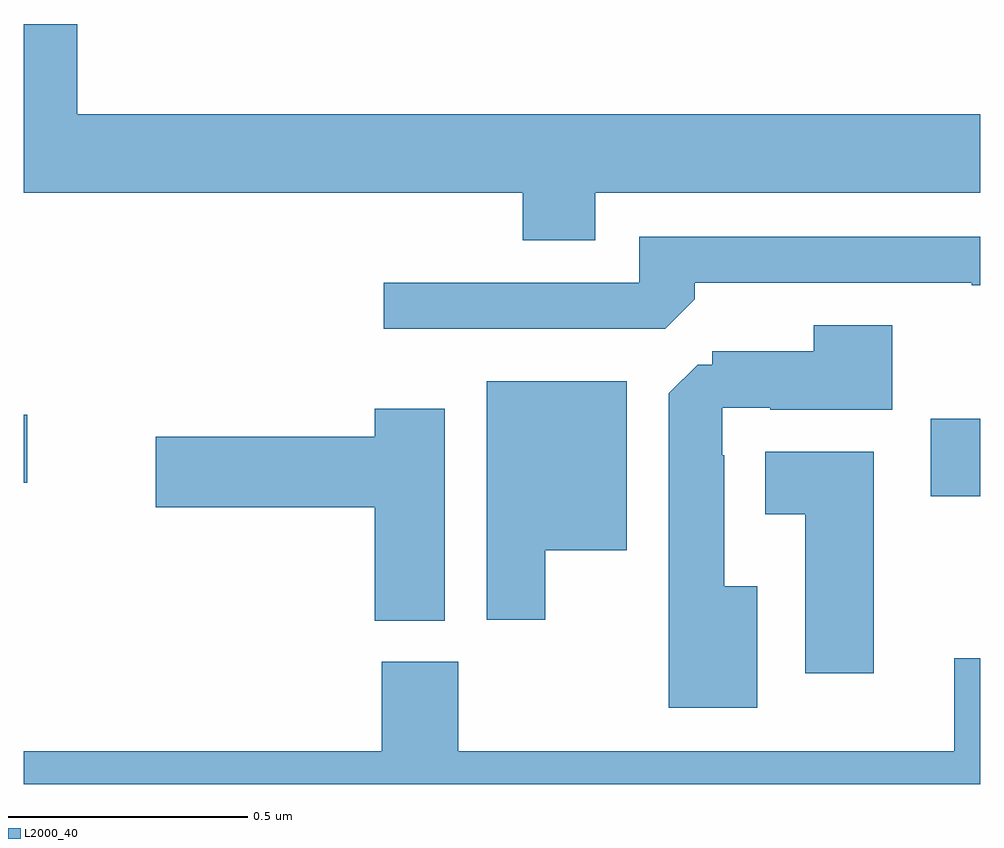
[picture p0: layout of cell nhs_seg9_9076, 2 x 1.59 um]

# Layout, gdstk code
import gdstk
lib = gdstk.Library(unit=1e-6, precision=1e-09)
def R(c, l, rs):  # rectangles x0, y0, x1, y1
    for r in rs: c.add(gdstk.rectangle(r[:2], r[2:], *l))
def P(c, l, *ps):  # polygons
    for p in ps: c.add(gdstk.Polygon(p, *l))
L2000_40 = (2000, 40)

nhs_seg9_9076 = lib.new_cell('nhs_seg9_9076')
R(nhs_seg9_9076, L2000_40, [(226.896,1213.102,227,1213.264), (225,1213.13,225.007,1213.272)])
P(nhs_seg9_9076, L2000_40, [(226.195,1213.736),(227,1213.736),(227,1213.9),(225.112,1213.9),(225.112,1214.089),(225,1214.089),(225,1213.736),(226.043,1213.736),(226.043,1213.637),(226.195,1213.637)],
  [(226.403,1213.514),(226.403,1213.548),(226.982,1213.548),(226.982,1213.543),(227,1213.543),(227,1213.644),(226.287,1213.644),(226.287,1213.548),(225.753,1213.548),(225.753,1213.452),(226.341,1213.452)],
  [(226.534,1212.913),(226.465,1212.913),(226.465,1213.187),(226.461,1213.187),(226.461,1213.287),(226.561,1213.287),(226.561,1213.283),(226.816,1213.283),(226.816,1213.459),(226.652,1213.459),(226.652,1213.405),(226.44,1213.405),(226.44,1213.377),(226.409,1213.377),(226.349,1213.317),(226.349,1212.659),(226.534,1212.659)],
  [(226.09,1212.989),(226.261,1212.989),(226.261,1213.342),(225.968,1213.342),(225.968,1212.843),(226.09,1212.843)],
  [(225.88,1213.285),(225.734,1213.285),(225.734,1213.226),(225.276,1213.226),(225.276,1213.079),(225.734,1213.079),(225.734,1212.841),(225.88,1212.841)],
  [(226.777,1213.195),(226.55,1213.195),(226.55,1213.064),(226.634,1213.064),(226.634,1212.732),(226.777,1212.732)],
  [(227,1212.763),(226.946,1212.763),(226.946,1212.568),(225.909,1212.568),(225.909,1212.756),(225.749,1212.756),(225.749,1212.568),(225,1212.568),(225,1212.5),(227,1212.5)])

lib.write_gds('nhs_seg9_9076.gds')
